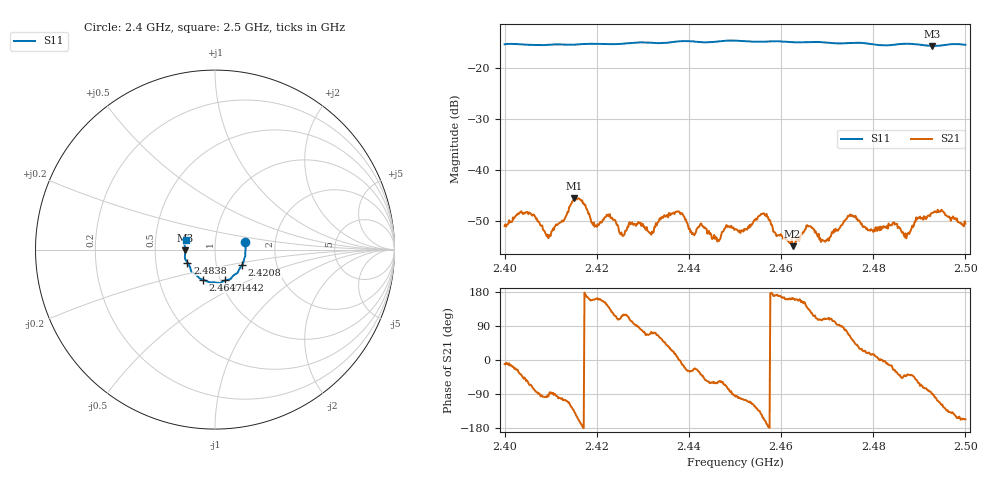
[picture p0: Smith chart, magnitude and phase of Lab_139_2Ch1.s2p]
# Hz S RI R 50
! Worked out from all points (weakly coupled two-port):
!   601 points, 2.4 GHz to 2.5 GHz, reference 50 ohm
!   highest |S21| = -45.42 dB at 2.4152 GHz (marker M1); lowest = -54.8 dB at 2.4625 GHz (marker M2)
!   lowest |S11| = -15.6 dB at 2.4928 GHz (marker M3), VSWR 1.40, Z = 35.8 - j0.346 ohm
!   |S11| at or under -10 dB: start of sweep to end of sweep
!   S12 and S22 are empty: the file has one direction only
!   S11 on the Smith chart (normalised r, x): 2.4 GHz: 1.40, +0.12; 2.4208 GHz: 1.33, -0.24; 2.4442 GHz: 1.05, -0.37; 2.4647 GHz: 0.83, -0.29; 2.4838 GHz: 0.73, -0.11; 2.5 GHz: 0.72, +0.08
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2.4e9  0.1675 0.0411  0.00281 -0.000533  0 0  0 0
2.405167e9  0.1703 0.00741  0.0018 -0.00326  0 0  0 0
2.4095e9  0.1687 -0.0251  -0.000224 -0.00215  0 0  0 0
2.415167e9  0.1608 -0.0577  -0.00395 -0.00362  0 0  0 0
2.416667e9  0.159 -0.0682  -0.00496 -0.00088  0 0  0 0
2.420833e9  0.1505 -0.087  -0.00294 0.00111  0 0  0 0
2.4255e9  0.1344 -0.1113  -0.00105 0.00206  0 0  0 0
2.433333e9  0.1079 -0.1402  0.00134 0.00283  0 0  0 0
2.4375e9  0.0897 -0.1603  0.00391 0.000584  0 0  0 0
2.444167e9  0.0567 -0.1714  0.00136 -0.00209  0 0  0 0
2.45e9  0.0246 -0.186  -0.000156 -0.00263  0 0  0 0
2.456333e9  -0.0158 -0.1824  -0.0035 -0.00143  0 0  0 0
2.4625e9  -0.0507 -0.1738  -0.00174 0.000506  0 0  0 0
2.464667e9  -0.0673 -0.1671  -0.00215 0.00109  0 0  0 0
2.466667e9  -0.0799 -0.1628  -0.00153 0.00226  0 0  0 0
2.469167e9  -0.09 -0.1565  -0.000653 0.00194  0 0  0 0
2.475e9  -0.1221 -0.1286  0.00176 0.00326  0 0  0 0
2.483333e9  -0.1506 -0.0761  0.00295 -0.000632  0 0  0 0
2.483833e9  -0.1533 -0.0721  0.00282 -0.000722  0 0  0 0
2.487333e9  -0.1669 -0.051  0.0018 -0.00144  0 0  0 0
2.492833e9  -0.166 -0.00471  -5.13e-05 -0.00384  0 0  0 0
2.5e9  -0.1622 0.0529  -0.00276 -0.0012  0 0  0 0
